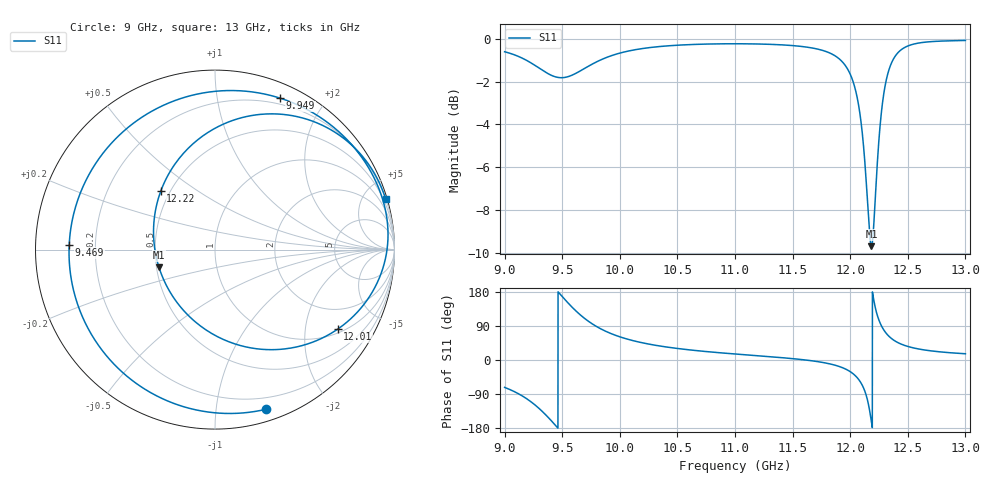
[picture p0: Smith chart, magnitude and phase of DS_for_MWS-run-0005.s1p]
! TOUCHSTONE file generated by CST DESIGN STUDIO
! Date and time: Wed Feb  5 13:44:18 2025
! Project name: C:\Work\MatlabApps\UnitCellOptimizationMatlab\CST\unitcell.cst
! Tree item: Tasks\Sweep1\SPara1\S-Parameters
! Header version: 2024
! Port assignment regex: !\s*Touchstone port\s*([0-9]+)\s*=\s*(CST MWS port|CST DES external port|CST DES block port)\s*(.+)\s* \(\"(.*)\"\)(\s*mode\s*([0-9]+))?.*
! Touchstone port assignment:
! Touchstone port 1 = CST DES external port 1 ("")
# GHz S MA R 50
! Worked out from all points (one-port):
!   4001 points, 9 GHz to 13 GHz, reference 50 ohm
!   lowest |S11| = -9.7 dB at 12.18 GHz (marker M1), VSWR 1.97, Z = 25.8 - j5.69 ohm
!   |S11| at or under -10 dB: nowhere
!   S11 on the Smith chart (normalised r, x): 9 GHz: 0.10, -1.37; 9.469 GHz: 0.10, +0.02; 9.949 GHz: 0.14, +1.51; 12.01 GHz: 1.13, -2.99; 12.22 GHz: 0.45, +0.36; 13 GHz: 0.18, +6.90
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9  0.934 -72.3
9.146  0.9042 -93.5
9.255  0.8707 -116.4
9.377  0.8299 -151.0
9.469  0.8127 178.1
9.5  0.812 167.5
9.6  0.8265 135.1
9.695  0.8539 109.6
9.803  0.8856 87.5
9.949  0.9185 66.7
10  0.9271 61.2
10.215  0.9518 44.2
10.5  0.9675 30.4
11  0.9751 15.8
11.5  0.9655 3.6
11.836  0.924 -11.1
12  0.8277 -30.7
12.011  0.8144 -33.0
12.066  0.7172 -48.5
12.116  0.5607 -73.8
12.15  0.4162 -105.6
12.184  0.3273 -162.5
12.222  0.444 132.9
12.262  0.6376 96.0
12.306  0.7847 73.1
12.388  0.9098 50.4
12.5  0.9634 35.8
13  0.9926 16.5
